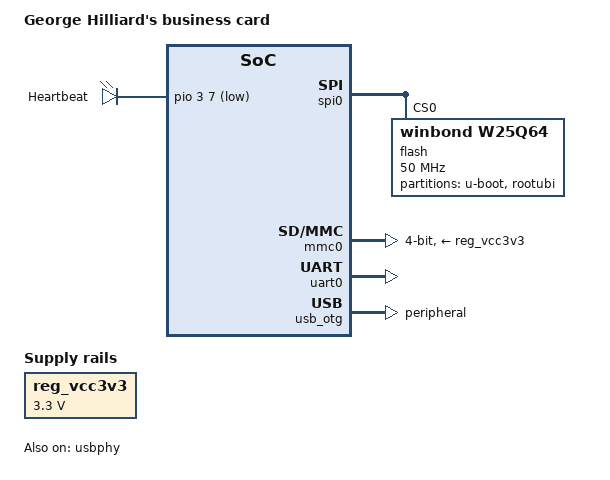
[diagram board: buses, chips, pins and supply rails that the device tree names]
// SPDX-License-Identifier: (GPL-2.0+ OR X11)
/*
 * Copyright 2019 George Hilliard <thirtythreeforty@gmail.com>
 */

/dts-v1/;
#include "suniv-f1c100s.dtsi"

#include <dt-bindings/gpio/gpio.h>

/ {
	model = "George Hilliard's business card";
	compatible = "licheepi,licheepi-nano", "allwinner,suniv-f1c100s",
		     "allwinner,suniv";

	aliases {
		serial0 = &uart0;
		spi0 = &spi0;
	};

	chosen {
		stdout-path = "serial0:115200n8";
	};

	reg_vcc3v3: vcc3v3 {
		compatible = "regulator-fixed";
		regulator-name = "vcc3v3";
		regulator-min-microvolt = <3300000>;
		regulator-max-microvolt = <3300000>;
	};

	leds {
		compatible = "gpio-leds";
		pinctrl-names = "default";
		pinctrl-0 = <&led_pins>;

		heartbeat {
			label = "Heartbeat";
			gpios = <&pio 3 7 GPIO_ACTIVE_LOW>;
			default-state = "on";
			linux,default-trigger = "heartbeat";
		};
	};
};

&pio {
	led_pins: led_pins {
		pins = "PD7";
		function = "gpio_out";
	};
};

&spi0 {
    pinctrl-names = "default";
    pinctrl-0 = <&spi0_pins_a>;
    status = "okay";
    flash: w25q64@0 {
        #address-cells = <1>;
        #size-cells = <1>;
        compatible = "winbond,w25q64", "jedec,spi-nor";
        reg = <0>;
        spi-max-frequency = <50000000>;
        partitions {
            compatible = "fixed-partitions";
            #address-cells = <1>;
            #size-cells = <1>;

            partition@0 {
                label = "u-boot";
                reg = <0x000000 0x40000>;
                //read-only;
            };

            partition@110000 {
                label = "rootubi";
                reg = <0x40000 0x7C0000>;
                //read-only;
            };
        };
    };
};

&mmc0 {
	vmmc-supply = <&reg_vcc3v3>;
	bus-width = <4>;
	broken-cd;
	status = "okay";
};

&otg_sram {
	status = "okay";
};

&uart0 {
	pinctrl-names = "default";
	pinctrl-0 = <&uart0_pe_pins>;
	status = "okay";
};

&usb_otg {
	dr_mode = "peripheral";
	status = "okay";
};

&usbphy {
	usb0_id_det-gpio = <&pio 4 2 GPIO_ACTIVE_HIGH>; /* PE2 */
	status = "okay";
};
